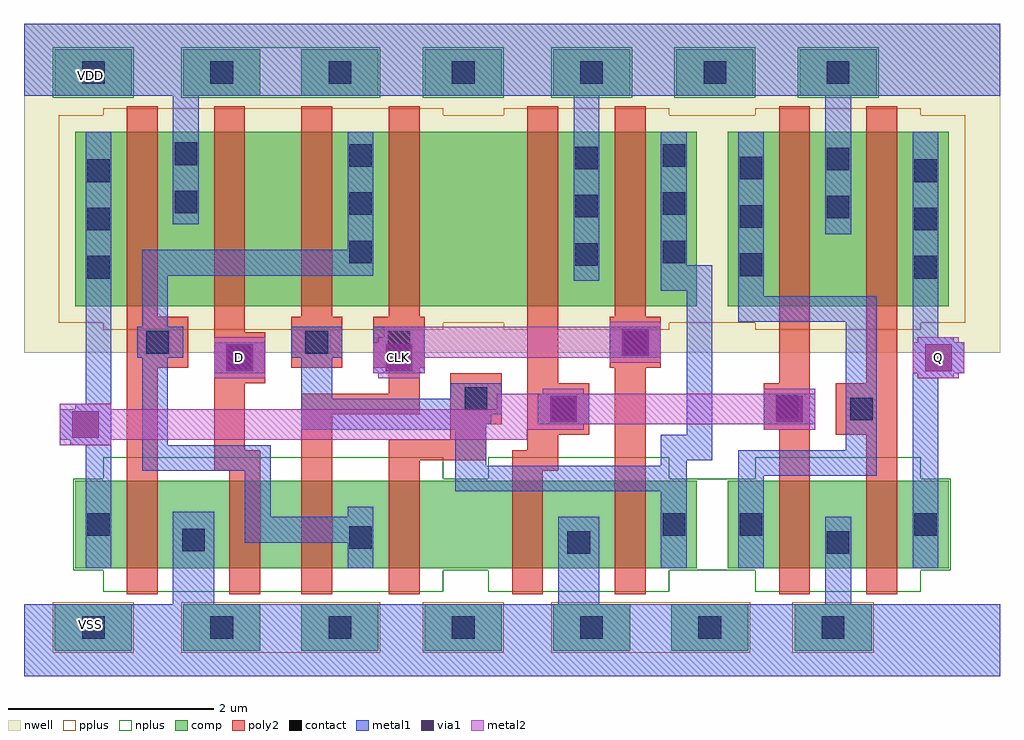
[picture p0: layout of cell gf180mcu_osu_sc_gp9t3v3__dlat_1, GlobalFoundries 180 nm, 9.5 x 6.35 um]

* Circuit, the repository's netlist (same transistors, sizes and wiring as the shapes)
* Copyright 2022 Google LLC
*
* Licensed under the Apache License, Version 2.0 (the "License");
* you may not use this file except in compliance with the License.
* You may obtain a copy of the License at
*
*      http://www.apache.org/licenses/LICENSE-2.0
*
* Unless required by applicable law or agreed to in writing, software
* distributed under the License is distributed on an "AS IS" BASIS,
* WITHOUT WARRANTIES OR CONDITIONS OF ANY KIND, either express or implied.
* See the License for the specific language governing permissions and
* limitations under the License.

.option scale=0.05u

.subckt gf180mcu_osu_sc_gp9t3v3__dlat_1 D Q CLK
X0 VDD a_10_19 a_77_70 VDD pmos_3p3 w=34 l=6
X1 a_52_58 CLK VSS VSS nmos_3p3 w=17 l=6
X2 VDD a_20_14 a_10_19 VDD pmos_3p3 w=34 l=6
X3 Q a_137_19 VDD VDD pmos_3p3 w=34 l=6
X4 a_52_58 CLK VDD VDD pmos_3p3 w=34 l=6
X5 a_46_19 D VSS VSS nmos_3p3 w=17 l=6
X6 a_20_14 CLK a_46_19 VSS nmos_3p3 w=17 l=6
X7 a_20_14 a_52_58 a_43_70 VDD pmos_3p3 w=34 l=6
X8 VSS a_10_19 a_137_19 VSS nmos_3p3 w=17 l=6
X9 VDD a_10_19 a_137_19 VDD pmos_3p3 w=34 l=6
X10 a_77_19 a_52_58 a_20_14 VSS nmos_3p3 w=17 l=6
X11 a_77_70 CLK a_20_14 VDD pmos_3p3 w=34 l=6
X12 VSS a_20_14 a_10_19 VSS nmos_3p3 w=17 l=6
X13 Q a_137_19 VSS VSS nmos_3p3 w=17 l=6
X14 a_43_70 D VDD VDD pmos_3p3 w=34 l=6
X15 VSS a_10_19 a_77_19 VSS nmos_3p3 w=17 l=6
.ends

** hspice subcircuit dictionary

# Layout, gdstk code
import gdstk
lib = gdstk.Library(unit=1e-6, precision=1e-09)
def R(c, l, rs):  # rectangles x0, y0, x1, y1
    for r in rs: c.add(gdstk.rectangle(r[:2], r[2:], *l))
def A(c, l, x, y, w, h, nx, ny, dx, dy):  # array of equal rectangles
    R(c, l, [(x+i*dx, y+j*dy, x+i*dx+w, y+j*dy+h) for i in range(nx) for j in range(ny)])
nwell = (21, 0)
comp = (22, 0)
poly2 = (30, 0)
pplus = (31, 0)
nplus = (32, 0)
contact = (33, 0)
metal1 = (34, 0)
via1 = (35, 0)
metal2 = (36, 0)

gf180mcu_osu_sc_gp9t3v3_ = lib.new_cell('gf180mcu_osu_sc_gp9t3v3__dlat_1')
R(gf180mcu_osu_sc_gp9t3v3_, nwell, [(0,3.15,9.5,6.35)])
A(gf180mcu_osu_sc_gp9t3v3_, comp, 5.15, 5.65, 0.75, 0.45, 3, 1, 1.2, 0)
R(gf180mcu_osu_sc_gp9t3v3_, comp, [(0.3,0.25,1.05,0.7), (1.55,0.25,2.3,0.7), (2.7,0.25,3.45,0.7), (3.9,0.25,4.65,0.7), (5.15,0.25,5.9,0.7), (6.3,0.25,7.05,0.7), (7.5,0.25,8.25,0.7), (0.5,1.05,6.55,1.9), (6.85,1.05,9,1.9), (0.5,3.6,6.55,5.3), (6.85,3.6,9,5.3), (0.3,5.65,1.05,6.1), (1.55,5.65,2.3,6.1), (2.7,5.65,3.45,6.1), (3.9,5.65,4.65,6.1)])
R(gf180mcu_osu_sc_gp9t3v3_, poly2, [(1,0.8,1.3,3), (2,0.8,2.3,2), (2.7,0.8,3,2.55), (3.55,0.8,3.85,2.1), (4.75,0.8,5.05,2), (5.75,0.8,6.05,3), (7.35,0.8,7.65,2.4), (8.2,0.8,8.5,2.35), (1.85,2,2.3,2.2), (4.75,2,5.2,2.2), (3.55,2.1,4.5,2.3), (1.85,2.2,2.15,2.85), (4.9,2.2,5.2,2.35), (4.15,2.3,4.5,2.45), (4.9,2.35,5.5,2.85), (7.9,2.35,8.5,2.85), (7.2,2.4,7.65,2.85), (4.15,2.45,4.65,2.95), (2.7,2.55,3.85,2.75), (3.55,2.75,3.85,3), (1.85,2.85,2.35,3.35), (4.9,2.85,5.2,5.55), (7.35,2.85,7.65,5.55), (8.2,2.85,8.5,5.55), (1,3,1.6,3.5), (2.6,3,3.1,3.5), (3.4,3,3.9,3.5), (5.7,3,6.2,3.5), (1.85,3.35,2.15,5.55), (1,3.5,1.3,5.55), (2.7,3.5,3,5.55), (3.55,3.5,3.85,5.55), (5.75,3.5,6.05,5.55)])
A(gf180mcu_osu_sc_gp9t3v3_, pplus, 0.28, 0.23, 0.79, 0.49, 3, 1, 3.6, 0)
R(gf180mcu_osu_sc_gp9t3v3_, pplus, [(1.53,0.23,3.47,0.72), (5.13,0.23,7.07,0.72), (0.77,3.37,4.08,3.44), (4.67,3.37,6.28,3.44), (7.12,3.37,8.73,3.44), (0.34,3.44,9.16,5.46), (0.77,5.46,4.08,5.53), (4.67,5.46,6.28,5.53), (7.12,5.46,8.73,5.53)])
A(gf180mcu_osu_sc_gp9t3v3_, nplus, 5.13, 5.63, 0.79, 0.49, 3, 1, 1.2, 0)
R(gf180mcu_osu_sc_gp9t3v3_, nplus, [(0.77,0.82,4.08,1.03), (4.52,0.82,6.28,1.03), (7.12,0.82,8.73,1.03), (0.48,1.03,9.02,1.92), (0.77,1.92,4.08,2.13), (4.52,1.92,6.28,2.13), (7.12,1.92,8.73,2.13), (0.28,5.63,1.07,6.12), (1.53,5.63,3.47,6.12), (3.88,5.63,4.67,6.12)])
A(gf180mcu_osu_sc_gp9t3v3_, contact, 0.615, 3.87, 0.22, 0.22, 1, 3, 0, 0.47)
A(gf180mcu_osu_sc_gp9t3v3_, contact, 8.665, 3.87, 0.22, 0.22, 1, 3, 0, 0.47)
A(gf180mcu_osu_sc_gp9t3v3_, contact, 6.965, 3.895, 0.22, 0.22, 1, 3, 0, 0.47)
A(gf180mcu_osu_sc_gp9t3v3_, contact, 5.365, 3.995, 0.22, 0.22, 1, 3, 0, 0.47)
A(gf180mcu_osu_sc_gp9t3v3_, contact, 3.165, 4.02, 0.22, 0.22, 1, 3, 0, 0.47)
A(gf180mcu_osu_sc_gp9t3v3_, contact, 6.215, 4.02, 0.22, 0.22, 1, 3, 0, 0.47)
A(gf180mcu_osu_sc_gp9t3v3_, contact, 5.415, 5.765, 0.22, 0.22, 3, 1, 1.2, 0)
R(gf180mcu_osu_sc_gp9t3v3_, contact, [(0.565,0.365,0.785,0.585), (1.815,0.365,2.035,0.585), (2.965,0.365,3.185,0.585), (4.165,0.365,4.385,0.585), (5.415,0.365,5.635,0.585), (6.565,0.365,6.785,0.585), (7.765,0.365,7.985,0.585), (5.29,1.19,5.51,1.41), (7.815,1.19,8.035,1.41), (1.54,1.215,1.76,1.435), (3.165,1.24,3.385,1.46), (0.615,1.365,0.835,1.585), (6.215,1.365,6.435,1.585), (6.965,1.365,7.185,1.585), (8.665,1.365,8.885,1.585), (5.14,2.49,5.36,2.71), (8.04,2.49,8.26,2.71), (7.315,2.515,7.535,2.735), (4.29,2.59,4.51,2.81), (1.99,2.99,2.21,3.21), (1.19,3.14,1.41,3.36), (2.74,3.14,2.96,3.36), (3.54,3.14,3.76,3.36), (5.84,3.14,6.06,3.36), (7.815,4.455,8.035,4.675), (1.465,4.505,1.685,4.725), (7.815,4.925,8.035,5.145), (1.465,4.975,1.685,5.195), (0.565,5.765,0.785,5.985), (1.815,5.765,2.035,5.985), (2.965,5.765,3.185,5.985), (4.165,5.765,4.385,5.985)])
R(gf180mcu_osu_sc_gp9t3v3_, metal1, [(0,0,9.5,0.7), (1.45,0.7,1.85,1.6), (5.2,0.7,5.6,1.55), (7.8,0.7,8.05,1.55), (0.6,1.05,0.85,2.25), (3.15,1.05,3.4,1.3), (6.2,1.05,6.45,1.8), (6.95,1.05,7.2,1.95), (8.65,1.05,8.9,2.9), (2.15,1.3,3.4,1.55), (2.15,1.55,2.4,2), (3.15,1.55,3.4,1.65), (4.2,1.8,6.45,2.05), (6.95,1.95,8.3,2.2), (1.15,2,2.4,2.25), (4.2,2.05,4.5,2.4), (6.2,2.05,6.45,2.1), (6.2,2.1,6.7,2.35), (8,2.2,8.3,3.45), (0.45,2.25,0.85,2.3), (1.15,2.25,1.4,3.1), (0.35,2.3,0.85,2.6), (6.45,2.35,6.7,3.75), (2.7,2.4,4.5,2.45), (2.7,2.45,4.55,2.55), (5,2.45,5.5,2.75), (7.2,2.45,7.7,2.75), (2.7,2.55,4.65,2.7), (0.5,2.6,0.85,2.65), (0.6,2.65,0.85,5.3), (2.7,2.7,3,3.1), (4.15,2.7,4.65,2.85), (8.65,2.9,9.05,2.95), (1.85,2.95,2.35,3.25), (3.4,2.95,3.9,3.4), (8.65,2.95,9.15,3.25), (1.1,3.1,1.55,3.4), (2.6,3.1,3.1,3.4), (5.7,3.1,6.2,3.4), (8.65,3.25,9.05,3.3), (8.65,3.3,8.9,5.3), (1.15,3.4,1.4,3.9), (6.95,3.45,8.3,3.7), (6.95,3.7,7.2,5.3), (6.2,3.75,6.7,4), (5.35,3.85,5.6,5.65), (1.15,3.9,3.4,4.15), (6.2,4,6.45,5.3), (3.15,4.15,3.4,5.3), (7.8,4.3,8.05,5.65), (1.45,4.4,1.7,5.65), (0,5.65,9.5,6.35)])
R(gf180mcu_osu_sc_gp9t3v3_, via1, [(0.47,2.32,0.73,2.58), (5.12,2.47,5.38,2.73), (7.32,2.47,7.58,2.73), (1.97,2.97,2.23,3.23), (3.52,2.97,3.78,3.23), (8.77,2.97,9.03,3.23), (5.82,3.12,6.08,3.38)])
R(gf180mcu_osu_sc_gp9t3v3_, metal2, [(0.35,2.25,0.85,2.3), (0.35,2.3,4.9,2.4), (0.35,2.4,5.45,2.45), (7.2,2.4,7.7,2.45), (0.35,2.45,7.7,2.6), (0.35,2.6,0.85,2.65), (4.6,2.6,7.7,2.75), (5.05,2.75,5.45,2.8), (7.2,2.75,7.7,2.8), (1.85,2.9,2.35,3.3), (3.45,2.9,3.85,2.95), (8.7,2.9,9.1,2.95), (3.4,2.95,3.9,3.1), (8.65,2.95,9.15,3.25), (5.7,3.05,6.2,3.1), (3.4,3.1,6.2,3.25), (3.45,3.25,6.2,3.3), (8.7,3.25,9.1,3.3), (3.5,3.3,6.2,3.4), (5.7,3.4,6.2,3.45)])
gf180mcu_osu_sc_gp9t3v3_.add(gdstk.Label('D', (2.1,3.1), layer=36, texttype=10))
gf180mcu_osu_sc_gp9t3v3_.add(gdstk.Label('Q', (8.9,3.1), layer=36, texttype=10))
gf180mcu_osu_sc_gp9t3v3_.add(gdstk.Label('CLK', (3.65,3.1), layer=36, texttype=10))
gf180mcu_osu_sc_gp9t3v3_.add(gdstk.Label('VDD', (0.65,5.85), layer=34, texttype=10))
gf180mcu_osu_sc_gp9t3v3_.add(gdstk.Label('VSS', (0.65,0.5), layer=34, texttype=10))

lib.write_gds('gf180mcu_osu_sc_gp9t3v3__dlat_1.gds')
